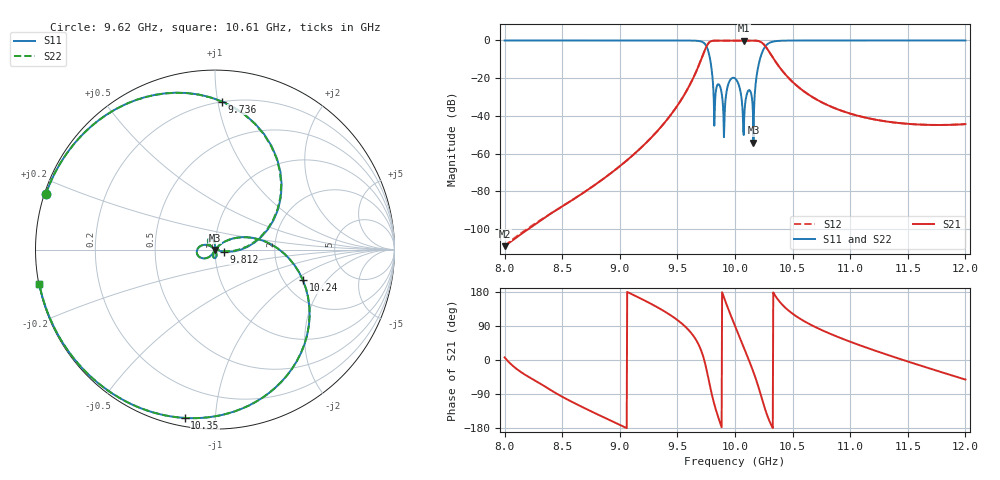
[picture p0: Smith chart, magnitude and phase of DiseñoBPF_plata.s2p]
! TOUCHSTONE file generated by CST MICROWAVE STUDIO
! Date and time: Sat Oct  4 19:39:52 2025
! Project name: DiseñoBPF_plata.cst
! Parameters = {L=20; Lc1=19.0311; Lc2=21.4361; a=19.05; b=9.525; t=1.5; w1=11.7375; w2=8.46096; w3=7.78789}
! Header version: 2024
! Port assignment regex: !\s*Touchstone port\s*([0-9]+)\s*=\s*(CST MWS port|CST DES external port|CST DES block port)\s*(.+)\s* \(\"(.*)\"\)(\s*mode\s*([0-9]+))?.*
! Touchstone port assignment:
! Touchstone port 1 = CST MWS port 1 ("")
! Touchstone port 2 = CST MWS port 2 ("")
! S-Parameters are not renormalized. Unphysical impedance of 610.374 will be written to the file.
# GHz S MA R 610.374
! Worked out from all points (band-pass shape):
!   1001 points, 8 GHz to 12 GHz, reference per port
!   highest |S21| = -0.08 dB at 10.08 GHz (marker M1); lowest = -109.1 dB at 8 GHz (marker M2)
!   |S21| within 3 dB of the highest: 9.753 GHz to 10.26 GHz (510.2 MHz wide, 5.1 % of centre)
!   lowest |S11| = -54.3 dB at 10.16 GHz (marker M3), VSWR 1.00
!   |S11| at or under -10 dB: 9.784 GHz to 10.22 GHz (432.3 MHz wide, 4.32 % of centre)
!   |S22| runs from -55.4 to 0.0 dB; largest |S21 - S12| = 1.9e-05
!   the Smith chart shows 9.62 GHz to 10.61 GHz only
!   S11 on the Smith chart (normalised r, x): 9.62 GHz: 0.00, +0.16; 9.736 GHz: 0.20, +1.03; 9.812 GHz: 1.10, -0.03; 10.24 GHz: 2.53, -1.18; 10.35 GHz: 0.04, -0.84; 10.61 GHz: 0.00, -0.10
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8  0.9967 97.2  3.51e-06 6.8  3.511e-06 6.8  0.9967 97.2
8.308  0.998 26.0  1.656e-05 -62.0  1.706e-05 -64.5  0.998 26.0
8.668  0.9983 -32.9  8.481e-05 -123.2  8.515e-05 -122.7  0.9983 -32.8
9.016  0.9983 -83.2  0.000507 -173.5  0.0005077 -173.5  0.9983 -83.2
9.336  0.9978 -132.1  0.004277 137.5  0.004276 137.5  0.9978 -132.1
9.62  0.9917 161.8  0.07854 71.2  0.07855 71.2  0.9917 161.9
9.736  0.8259 87.2  0.5344 -3.9  0.5344 -3.9  0.8259 87.4
9.78  0.3651 26.7  0.9094 -64.9  0.9094 -64.9  0.3651 27.3
9.812  0.05033 -13.2  0.9828 -107.1  0.9828 -107.1  0.05058 -9.5
9.864  0.06583 111.7  0.9856 -159.8  0.9856 -159.8  0.06582 109.8
9.892  0.02562 90.7  0.9883 175.4  0.9883 175.4  0.02553 87.2
10  0.09886 -179.8  0.9856 90.0  0.9856 90.0  0.09887 -179.7
10.076  0.003129 -84.0  0.9908 33.4  0.9908 33.4  0.003003 -77.8
10.116  0.04678 -87.7  0.9896 3.1  0.9896 3.1  0.04681 -87.1
10.16  0.001931 -71.6  0.9901 -31.7  0.9901 -31.7  0.002377 -63.5
10.204  0.2208 17.2  0.9636 -71.6  0.9636 -71.6  0.2208 17.1
10.24  0.5191 -19.2  0.8409 -108.4  0.8409 -108.4  0.519 -19.2
10.348  0.9529 -100.2  0.2857 170.2  0.2858 170.2  0.9529 -100.2
10.608  0.9974 -169.0  0.04251 101.1  0.04251 101.1  0.9974 -169.0
10.668  0.998 -178.7  0.03211 91.4  0.03211 91.4  0.998 -178.7
11.336  0.9988 102.4  0.006954 12.4  0.006955 12.4  0.9988 102.4
12  0.9989 38.5  0.006047 -51.6  0.006047 -51.6  0.9989 38.5
